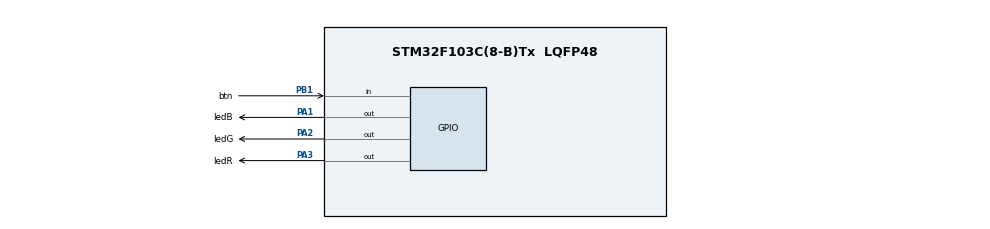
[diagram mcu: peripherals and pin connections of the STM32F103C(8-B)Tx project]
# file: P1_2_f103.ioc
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Mcu.Family=STM32F1
Mcu.Name=STM32F103C(8-B)Tx
Mcu.Package=LQFP48
NVIC.PriorityGroup=NVIC_PRIORITYGROUP_4
PA1.GPIO_Label=ledB
PA1.GPIO_ModeDefaultOutputPP=GPIO_MODE_OUTPUT_OD
PA1.GPIO_PuPd=GPIO_NOPULL
PA1.Signal=GPIO_Output
PA13.Mode=Serial_Wire
PA13.Signal=SYS_JTMS-SWDIO
PA14.Mode=Serial_Wire
PA14.Signal=SYS_JTCK-SWCLK
PA2.GPIO_Label=ledG
PA2.GPIO_ModeDefaultOutputPP=GPIO_MODE_OUTPUT_OD
PA2.GPIO_PuPd=GPIO_NOPULL
PA2.Signal=GPIO_Output
PA3.GPIO_Label=ledR
PA3.GPIO_ModeDefaultOutputPP=GPIO_MODE_OUTPUT_OD
PA3.GPIO_PuPd=GPIO_NOPULL
PA3.Signal=GPIO_Output
PB1.GPIO_Label=btn
PB1.Signal=GPIO_Input
ProjectManager.HeapSize=0x200
ProjectManager.StackSize=0x400
ProjectManager.TargetToolchain=STM32CubeIDE
RCC.APB1Freq_Value=8000000
RCC.APB2Freq_Value=8000000
board=custom

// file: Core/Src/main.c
/* USER CODE BEGIN Header */
/**
  ******************************************************************************
  * @file           : main.c
  * @brief          : Main program body
  ******************************************************************************
  * @attention
  *
  * Copyright (c) 2023 STMicroelectronics.
  * All rights reserved.
  *
  * This software is licensed under terms that can be found in the LICENSE file
  * in the root directory of this software component.
  * If no LICENSE file comes with this software, it is provided AS-IS.
  *
  ******************************************************************************
  */
/* USER CODE END Header */
#include "main.h"

/* USER CODE BEGIN PV */

typedef struct {
	uint16_t pin;
	GPIO_TypeDef* port;
} led_typedef; 				//estructura para guardar el pin y el puerto de cada led

/*
 * los pines de led están definidos en CubeMx:
 * ledB --> PIN A1
 * ledG --> PIN A2
 * ledR --> PIN A3
 */

led_typedef ledRed = {ledR_Pin, ledR_GPIO_Port};
led_typedef ledGreen = {ledG_Pin, ledG_GPIO_Port};
led_typedef ledBlue = {ledB_Pin, ledB_GPIO_Port};

led_typedef *secuencia1[] = {&ledRed, &ledGreen, &ledBlue}; //secuencia 1: LED1, LED2, LED3
led_typedef *secuencia2[] = {&ledRed, &ledBlue, &ledGreen}; //secuencia 2: LED1, LED3, LED2

const uint8_t NUM_LEDS = 3;
const uint16_t ON_TIME_MS = 200;

led_typedef **secuencia_actual;	//almacena qué secuencia se está utilizando actualmente, se modifica cuando se presiona el botón
uint8_t btnPressed; //el botón se encuentra conectado al pin B1, con una resistencia de pull-up. cuando lo presiono el pin lee el valor 0
/* USER CODE END PV */

void SystemClock_Config(void);
static void MX_GPIO_Init(void);
/* USER CODE BEGIN PFP */

//funciones que uso para encender o apagar uno o todos los leds
void led_on(led_typedef*);
void led_off(led_typedef*);
void led_off_all(led_typedef*[]);

/* USER CODE END PFP */

int main(void)
{

  /* MCU Configuration--------------------------------------------------------*/

  /* Reset of all peripherals, Initializes the Flash interface and the Systick. */
  HAL_Init();

  /* Configure the system clock */
  SystemClock_Config();

  /* Initialize all configured peripherals */
  MX_GPIO_Init();

  /* Infinite loop */
  /* USER CODE BEGIN WHILE */
  secuencia_actual = secuencia1;
  led_off_all(secuencia_actual);
  while (1)
  {
    /* USER CODE END WHILE */

    /* USER CODE BEGIN 3 */
	  for(int i=0; i<NUM_LEDS; i++){
		  led_on(secuencia_actual[i]);
		  HAL_Delay(ON_TIME_MS);
		  led_off_all(secuencia_actual);
		  HAL_Delay(ON_TIME_MS);
	  }

	  btnPressed = !HAL_GPIO_ReadPin(btn_GPIO_Port, btn_Pin);

	  if(btnPressed){
		  if(secuencia_actual == secuencia1){
			  secuencia_actual = secuencia2;
		  }
		  else{
			  secuencia_actual = secuencia1;
		  }
	  }
  }
  /* USER CODE END 3 */
}

void SystemClock_Config(void)
{
  RCC_OscInitTypeDef RCC_OscInitStruct = {0};
  RCC_ClkInitTypeDef RCC_ClkInitStruct = {0};

  /** Initializes the RCC Oscillators according to the specified parameters
  * in the RCC_OscInitTypeDef structure.
  */
  RCC_OscInitStruct.OscillatorType = RCC_OSCILLATORTYPE_HSI;
  RCC_OscInitStruct.HSIState = RCC_HSI_ON;
  RCC_OscInitStruct.HSICalibrationValue = RCC_HSICALIBRATION_DEFAULT;
  RCC_OscInitStruct.PLL.PLLState = RCC_PLL_NONE;
  if (HAL_RCC_OscConfig(&RCC_OscInitStruct) != HAL_OK)
  {
    Error_Handler();
  }

  /** Initializes the CPU, AHB and APB buses clocks
  */
  RCC_ClkInitStruct.ClockType = RCC_CLOCKTYPE_HCLK|RCC_CLOCKTYPE_SYSCLK
                              |RCC_CLOCKTYPE_PCLK1|RCC_CLOCKTYPE_PCLK2;
  RCC_ClkInitStruct.SYSCLKSource = RCC_SYSCLKSOURCE_HSI;
  RCC_ClkInitStruct.AHBCLKDivider = RCC_SYSCLK_DIV1;
  RCC_ClkInitStruct.APB1CLKDivider = RCC_HCLK_DIV1;
  RCC_ClkInitStruct.APB2CLKDivider = RCC_HCLK_DIV1;

  if (HAL_RCC_ClockConfig(&RCC_ClkInitStruct, FLASH_LATENCY_0) != HAL_OK)
  {
    Error_Handler();
  }
}

static void MX_GPIO_Init(void)
{
  GPIO_InitTypeDef GPIO_InitStruct = {0};

  /* GPIO Ports Clock Enable */
  __HAL_RCC_GPIOA_CLK_ENABLE();
  __HAL_RCC_GPIOB_CLK_ENABLE();

  /*Configure GPIO pin Output Level */
  HAL_GPIO_WritePin(GPIOA, ledB_Pin|ledG_Pin|ledR_Pin, GPIO_PIN_RESET);

  /*Configure GPIO pins : ledB_Pin ledG_Pin ledR_Pin */
  GPIO_InitStruct.Pin = ledB_Pin|ledG_Pin|ledR_Pin;
  GPIO_InitStruct.Mode = GPIO_MODE_OUTPUT_OD;
  GPIO_InitStruct.Pull = GPIO_NOPULL;
  GPIO_InitStruct.Speed = GPIO_SPEED_FREQ_LOW;
  HAL_GPIO_Init(GPIOA, &GPIO_InitStruct);

  /*Configure GPIO pin : btn_Pin */
  GPIO_InitStruct.Pin = btn_Pin;
  GPIO_InitStruct.Mode = GPIO_MODE_INPUT;
  GPIO_InitStruct.Pull = GPIO_NOPULL;
  HAL_GPIO_Init(btn_GPIO_Port, &GPIO_InitStruct);

}

/* USER CODE BEGIN 4 */

/* los leds están conectados a los pines de la placa en la configuración open-drain.
 * Por lo tanto para encender un led, el estado del pin debe ser 0 (GPIO_PIN_RESET),
 * y para apagarlo el estado debe ser 1 (GPIO_PIN_SET).
 * */

void led_on(led_typedef *led){
	HAL_GPIO_WritePin(led->port, led->pin, GPIO_PIN_RESET);
}

void led_off(led_typedef *led){
	HAL_GPIO_WritePin(led->port, led->pin, GPIO_PIN_SET);
}

void led_off_all(led_typedef *leds[]){
	for(int i=0; i<NUM_LEDS; i++){
		led_off(leds[i]);
	}
}
/* USER CODE END 4 */

void Error_Handler(void)
{
  __disable_irq();
  while (1)
  {
  }
}
